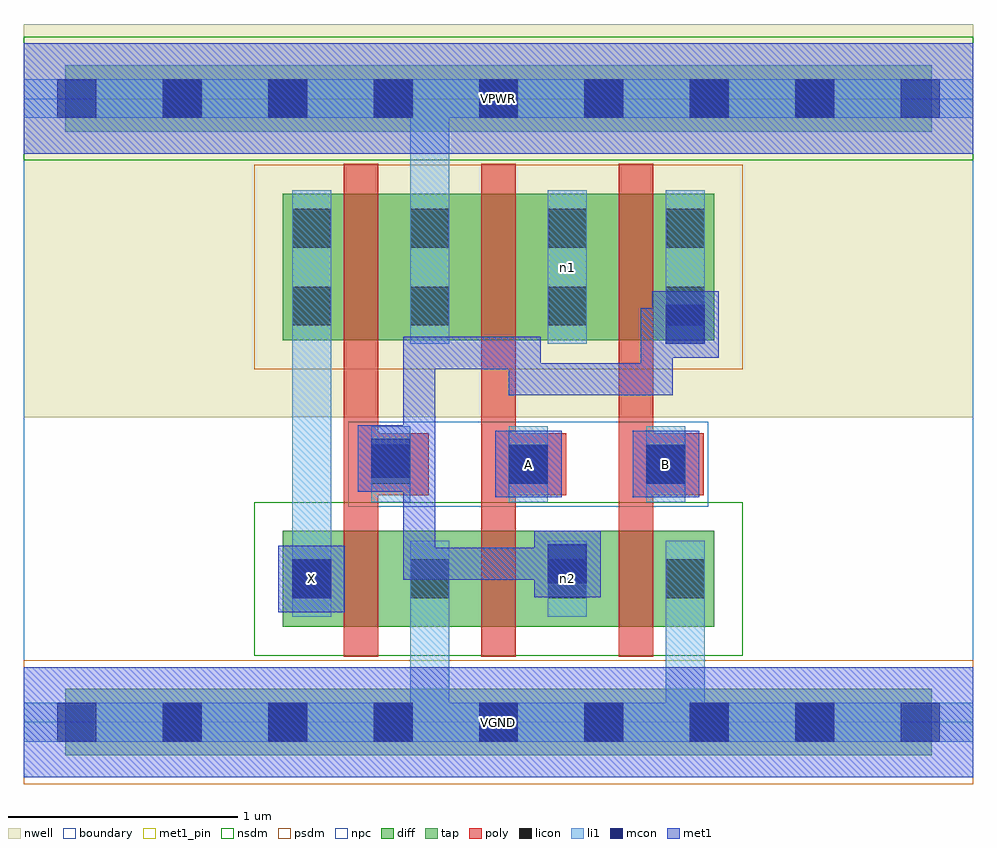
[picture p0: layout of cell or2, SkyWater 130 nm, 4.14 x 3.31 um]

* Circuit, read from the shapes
.subckt or2 A B VGND VPWR X n1 n2
XM1 VGND n2 X VGND sky130_fd_pr__nfet_01v8 w=0.42 l=0.15
XM2 n2 A VGND VGND sky130_fd_pr__nfet_01v8 w=0.42 l=0.15
XM3 VGND B n2 VGND sky130_fd_pr__nfet_01v8 w=0.42 l=0.15
XM4 VPWR n2 X VPWR sky130_fd_pr__pfet_01v8 w=0.64 l=0.15
XM5 n1 A VPWR VPWR sky130_fd_pr__pfet_01v8 w=0.64 l=0.15
XM6 n2 B n1 VPWR sky130_fd_pr__pfet_01v8 w=0.64 l=0.15
.ends

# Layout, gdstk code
import gdstk
lib = gdstk.Library(unit=1e-6, precision=1e-09)
def R(c, l, rs):  # rectangles x0, y0, x1, y1
    for r in rs: c.add(gdstk.rectangle(r[:2], r[2:], *l))
def A(c, l, x, y, w, h, nx, ny, dx, dy):  # array of equal rectangles
    R(c, l, [(x+i*dx, y+j*dy, x+i*dx+w, y+j*dy+h) for i in range(nx) for j in range(ny)])
nwell = (64, 20)
diff = (65, 20)
tap = (65, 44)
poly = (66, 20)
licon = (66, 44)
li1 = (67, 20)
mcon = (67, 44)
met1_pin = (68, 16)
met1 = (68, 20)
nsdm = (93, 44)
psdm = (94, 20)
npc = (95, 20)
boundary = (235, 4)

or2 = lib.new_cell('or2')
R(or2, nwell, [(0,1.33,4.14,3.045)])
R(or2, diff, [(1.13,0.415,3.01,0.835), (1.13,1.665,3.01,2.305)])
R(or2, tap, [(0.18,-0.145,3.96,0.145), (0.18,2.575,3.96,2.865)])
A(or2, poly, 1.395, 0.285, 0.15, 2.15, 3, 1, 0.6, 0)
A(or2, poly, 1.435, 0.99, 0.33, 0.27, 3, 1, 0.6, 0)
A(or2, licon, 0.605, -0.085, 0.17, 0.17, 7, 2, 0.46, 2.72)
A(or2, licon, 1.515, 1.04, 0.17, 0.17, 3, 1, 0.6, 0)
R(or2, licon, [(1.17,0.54,1.34,0.71), (1.685,0.54,1.855,0.71), (2.285,0.54,2.455,0.71), (2.8,0.54,2.97,0.71), (1.17,1.73,1.34,1.9), (1.685,1.73,1.855,1.9), (2.285,1.73,2.455,1.9), (2.8,1.73,2.97,1.9), (1.17,2.07,1.34,2.24), (1.685,2.07,1.855,2.24), (2.285,2.07,2.455,2.24), (2.8,2.07,2.97,2.24)])
A(or2, li1, 1.515, 0.96, 0.17, 0.33, 3, 1, 0.6, 0)
R(or2, li1, [(0,-0.085,4.14,0.085), (1.685,-0.085,1.855,0.79), (2.8,-0.085,2.97,0.79), (1.17,0.46,1.34,0.79), (1.17,0.46,1.34,2.32), (1.685,0.46,1.855,0.79), (2.285,0.46,2.455,0.79), (2.8,0.46,2.97,0.79), (1.17,1.65,1.34,2.32), (1.685,1.65,1.855,2.32), (1.685,1.65,1.855,2.805), (2.285,1.65,2.455,2.32), (2.8,1.65,2.97,2.32), (0,2.635,4.14,2.805)])
A(or2, mcon, 0.145, -0.085, 0.17, 0.17, 9, 2, 0.46, 2.72)
R(or2, mcon, [(1.17,0.54,1.34,0.71), (2.285,0.605,2.455,0.775), (2.115,1.04,2.285,1.21), (2.715,1.04,2.885,1.21), (1.515,1.065,1.685,1.235), (2.8,1.65,2.97,1.82)])
R(or2, met1_pin, [(0,-0.24,4.14,0.24), (1.11,0.48,1.4,0.77), (2.055,0.98,2.345,1.27), (2.655,0.98,2.945,1.27), (0,2.48,4.14,2.96)])
R(or2, met1, [(0,-0.24,4.14,0.24), (1.11,0.48,1.4,0.77), (2.225,0.545,2.515,0.835), (1.655,0.62,1.795,1.22), (1.655,0.62,2.255,0.76), (2.115,0.62,2.44,0.76), (2.055,0.98,2.345,1.27), (2.655,0.98,2.945,1.27), (1.455,1.005,1.745,1.295), (1.53,1.08,1.795,1.22), (1.655,1.08,1.795,1.68), (2.115,1.425,2.255,1.68), (2.115,1.425,2.83,1.565), (2.69,1.425,2.83,1.68), (1.655,1.54,2.255,1.68), (2.69,1.54,2.83,1.805), (2.74,1.59,3.03,1.88), (2.69,1.665,2.955,1.805), (0,2.48,4.14,2.96)])
R(or2, nsdm, [(1.005,0.29,3.135,0.96), (0,2.45,4.14,2.99)])
R(or2, psdm, [(0,-0.27,4.14,0.27), (1.005,1.54,3.135,2.43)])
R(or2, npc, [(1.415,0.94,2.985,1.31)])
R(or2, boundary, [(0,0,4.14,2.72)])
or2.add(gdstk.Label('n2', (2.37,0.625), layer=67, texttype=5))
or2.add(gdstk.Label('n1', (2.37,1.985), layer=67, texttype=5))
or2.add(gdstk.Label('A', (2.2,1.125), layer=68, texttype=5))
or2.add(gdstk.Label('B', (2.8,1.125), layer=68, texttype=5))
or2.add(gdstk.Label('X', (1.255,0.625), layer=68, texttype=5))
or2.add(gdstk.Label('VPWR', (2.07,2.72), layer=68, texttype=5))
or2.add(gdstk.Label('VGND', (2.07,0), layer=68, texttype=5))
or2.add(gdstk.Label('A', (2.2,1.125), layer=68, texttype=16))
or2.add(gdstk.Label('B', (2.8,1.125), layer=68, texttype=16))
or2.add(gdstk.Label('X', (1.255,0.625), layer=68, texttype=16))
or2.add(gdstk.Label('VPWR', (2.07,2.72), layer=68, texttype=16))
or2.add(gdstk.Label('VGND', (2.07,0), layer=68, texttype=16))

lib.write_gds('or2.gds')
